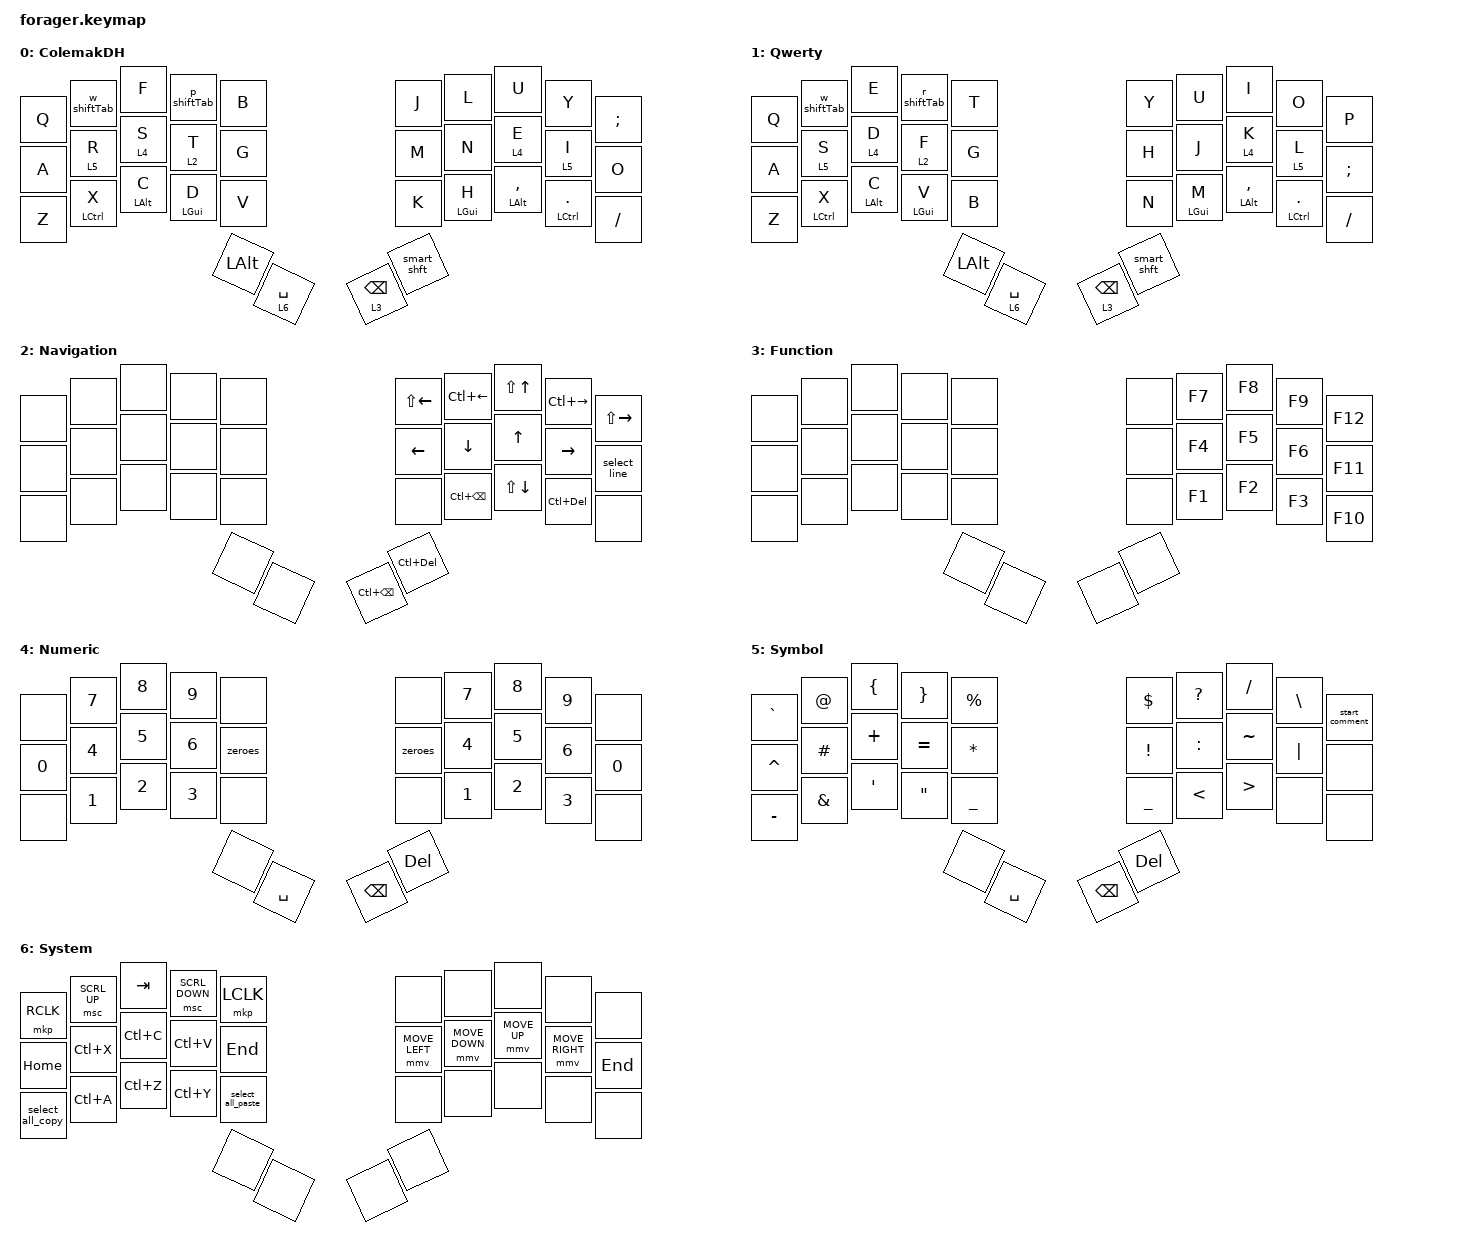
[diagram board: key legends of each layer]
#include <behaviors/mouse_keys.dtsi>
#include <dt-bindings/zmk/mouse.h>

#define ZMK_POINTING_DEFAULT_MOVE_VAL 1100  // default: 600
#define ZMK_POINTING_DEFAULT_SCRL_VAL 20    // default: 10

#include <behaviors.dtsi>
#include <dt-bindings/zmk/keys.h>
#include <dt-bindings/zmk/pointing.h>

#define BASE 0

&lt { quick-tap-ms = <50>; };

/ {
    behaviors {
        hold_tap: hold_tap {
            compatible = "zmk,behavior-hold-tap";
            label = "HOLD_TAP";
            bindings = <&kp>, <&kp>;

            #binding-cells = <2>;
            tapping-term-ms = <200>;
            quick-tap-ms = <50>;
            flavor = "tap-preferred";
        };

        smart_shft: smart_shft {
            compatible = "zmk,behavior-mod-morph";
            label = "SMART_SHFT";
            bindings = <&sk LEFT_SHIFT>, <&caps_word>;

            #binding-cells = <0>;
            mods = <(MOD_LSFT)>;
        };

        w_shiftTab: w_shiftTab {
            compatible = "zmk,behavior-mod-morph";
            label = "W_SHIFTTAB";
            bindings = <&kp W>, <&kp LS(TAB)>;

            #binding-cells = <0>;
            mods = <(MOD_LALT)>;
            keep-mods = <(MOD_LALT)>;
        };

        p_shiftTab: p_shiftTab {
            compatible = "zmk,behavior-mod-morph";
            label = "P_SHIFTTAB";
            bindings = <&kp P>, <&kp TAB>;

            #binding-cells = <0>;
            mods = <(MOD_LALT)>;
            keep-mods = <(MOD_LALT)>;
        };

        r_shiftTab: r_shiftTab {
            compatible = "zmk,behavior-mod-morph";
            label = "R_SHIFTTAB";
            bindings = <&kp R>, <&kp TAB>;

            #binding-cells = <0>;
            mods = <(MOD_LALT)>;
            keep-mods = <(MOD_LALT)>;
        };

        quertycolemak: quertycolemak {
            compatible = "zmk,behavior-toggle-layer";
            label = "QUERTYCOLEMAK";
            #binding-cells = <1>;
            toggle-mode = "flip";
        };
    };

    macros {
        zeroes: zeroes {
            compatible = "zmk,behavior-macro";
            #binding-cells = <0>;
            bindings = <&kp NUMBER_0 &kp NUMBER_0 &kp NUMBER_0>;
            label = "ZEROES";
        };

        select_all_copy: select_all_copy {
            compatible = "zmk,behavior-macro";
            #binding-cells = <0>;
            bindings = <&kp LC(A) &kp LC(C)>;
            label = "SELECT_ALL_COPY";
        };

        select_all_paste: select_all_paste {
            compatible = "zmk,behavior-macro";
            #binding-cells = <0>;
            bindings = <&kp LC(A) &kp LC(V)>;
            label = "SELECT_ALL_PASTE";
        };

        select_line: select_line {
            compatible = "zmk,behavior-macro";
            #binding-cells = <0>;
            bindings = <&kp HOME &kp LS(END)>;
            label = "SELECT_LINE";
        };

        start_comment: start_comment {
            compatible = "zmk,behavior-macro";
            #binding-cells = <0>;
            bindings = <&kp SLASH &kp ASTERISK &kp RET &kp ASTERISK &kp SLASH>;
            label = "START_COMMENT";
        };
    };

    combos {
        compatible = "zmk,combos";

        return {
            bindings = <&kp RET>;
            key-positions = <16 18>;
        };

        escape {
            bindings = <&kp ESCAPE>;
            key-positions = <11 13>;
        };

        left_bracket {
            bindings = <&kp LEFT_BRACKET>;
            key-positions = <1 3>;
        };

        right_bracket {
            bindings = <&kp RIGHT_BRACKET>;
            key-positions = <6 8>;
        };

        snipping_tool {
            bindings = <&kp LG(LS(S))>;
            key-positions = <0 4>;
        };

        delete {
            bindings = <&kp DELETE>;
            key-positions = <8 6>;
        };

        left_parentesis {
            bindings = <&kp LEFT_PARENTHESIS>;
            key-positions = <21 23>;
        };

        right_parentesis {
            bindings = <&kp RIGHT_PARENTHESIS>;
            key-positions = <26 28>;
        };

        ctrl_alt_del {
            bindings = <&kp LA(LC(DELETE))>;
            key-positions = <20 29>;
        };

        caps_word {
            bindings = <&caps_word>;
            key-positions = <14 15>;
        };

        qwerty {
            bindings = <&quertycolemak 1>;
            key-positions = <31 32>;
            layers = <1 0>;
        };

        lockpc {
            bindings = <&kp LG(L)>;
            key-positions = <10 19>;
        };
    };

    keymap {
        compatible = "zmk,keymap";

        base {
            bindings = <
  &kp Q  &w_shiftTab               &kp F                 &p_shiftTab           &kp B          &kp J            &kp L                 &kp U                     &kp Y                          &kp SEMI
  &kp A  &lt 5 R                   &lt 4 S               &lt 2 T               &kp G          &kp M            &kp N                 &lt 4 E                   &lt 5 I                        &kp O
  &kp Z  &hold_tap LEFT_CONTROL X  &hold_tap LEFT_ALT C  &hold_tap LEFT_GUI D  &kp V          &kp K            &hold_tap LEFT_GUI H  &hold_tap LEFT_ALT COMMA  &hold_tap LEFT_CONTROL PERIOD  &kp FSLH
                                                         &kp LEFT_ALT          &lt 6 SPACE    &lt 3 BACKSPACE  &smart_shft
            >;

            display-name = "ColemakDH";
        };

        qwerty {
            display-name = "Qwerty";
            bindings = <
  &kp Q  &w_shiftTab               &kp E                 &r_shiftTab           &kp T          &kp Y            &kp U                 &kp I                     &kp O                          &kp P
  &kp A  &lt 5 S                   &lt 4 D               &lt 2 F               &kp G          &kp H            &kp J                 &lt 4 K                   &lt 5 L                        &kp SEMI
  &kp Z  &hold_tap LEFT_CONTROL X  &hold_tap LEFT_ALT C  &hold_tap LEFT_GUI V  &kp B          &kp N            &hold_tap LEFT_GUI M  &hold_tap LEFT_ALT COMMA  &hold_tap LEFT_CONTROL PERIOD  &kp FSLH
                                                         &kp LEFT_ALT          &lt 6 SPACE    &lt 3 BACKSPACE  &smart_shft
            >;
        };

        nav {
            bindings = <
  &none  &none  &none  &none  &none    &kp LS(LEFT)       &kp LC(LEFT)       &kp LS(UP_ARROW)  &kp LC(RIGHT)   &kp LS(RIGHT)
  &none  &none  &none  &none  &none    &kp LEFT           &kp DOWN           &kp UP_ARROW      &kp RIGHT       &select_line
  &none  &none  &none  &none  &none    &none              &kp LC(BACKSPACE)  &kp LS(DOWN)      &kp LC(DELETE)  &none
                       &none  &none    &kp LC(BACKSPACE)  &kp LC(DELETE)
            >;

            label = "Navigation";
        };

        fun {
            bindings = <
  &none  &none  &none  &none  &none    &none  &kp F7  &kp F8  &kp F9  &kp F12
  &none  &none  &none  &none  &none    &none  &kp F4  &kp F5  &kp F6  &kp F11
  &none  &none  &none  &none  &none    &none  &kp F1  &kp F2  &kp F3  &kp F10
                       &none  &none    &none  &none
            >;

            label = "Function";
        };

        num {
            bindings = <
  &none   &kp N7  &kp N8  &kp N9  &none        &none     &kp N7      &kp N8  &kp N9  &none
  &kp N0  &kp N4  &kp N5  &kp N6  &zeroes      &zeroes   &kp N4      &kp N5  &kp N6  &kp N0
  &none   &kp N1  &kp N2  &kp N3  &none        &none     &kp N1      &kp N2  &kp N3  &none
                          &none   &kp SPACE    &kp BSPC  &kp DELETE
            >;

            label = "Numeric";
        };

        sym {
            bindings = <
  &kp GRAVE  &kp AT_SIGN  &kp LEFT_BRACE    &kp RIGHT_BRACE    &kp PERCENT    &kp DOLLAR     &kp QUESTION   &kp FSLH          &kp BSLH  &start_comment
  &kp CARET  &kp HASH     &kp PLUS          &kp EQUAL          &kp STAR       &kp EXCL       &kp COLON      &kp TILDE         &kp PIPE  &none
  &kp MINUS  &kp AMPS     &kp SINGLE_QUOTE  &kp DOUBLE_QUOTES  &kp UNDER      &kp UNDER      &kp LESS_THAN  &kp GREATER_THAN  &none     &none
                                            &none              &kp SPACE      &kp BACKSPACE  &kp DELETE
            >;

            label = "Symbol";
        };

        sys {
            bindings = <
  &mkp RCLK         &msc SCRL_UP  &kp TAB    &msc SCRL_DOWN  &mkp LCLK            &none           &none           &none         &none            &none
  &kp HOME          &kp LC(X)     &kp LC(C)  &kp LC(V)       &kp END              &mmv MOVE_LEFT  &mmv MOVE_DOWN  &mmv MOVE_UP  &mmv MOVE_RIGHT  &kp END
  &select_all_copy  &kp LC(A)     &kp LC(Z)  &kp LC(Y)       &select_all_paste    &none           &none           &none         &none            &none
                                             &none           &none                &none           &none
            >;

            label = "System";
        };
    };
};
